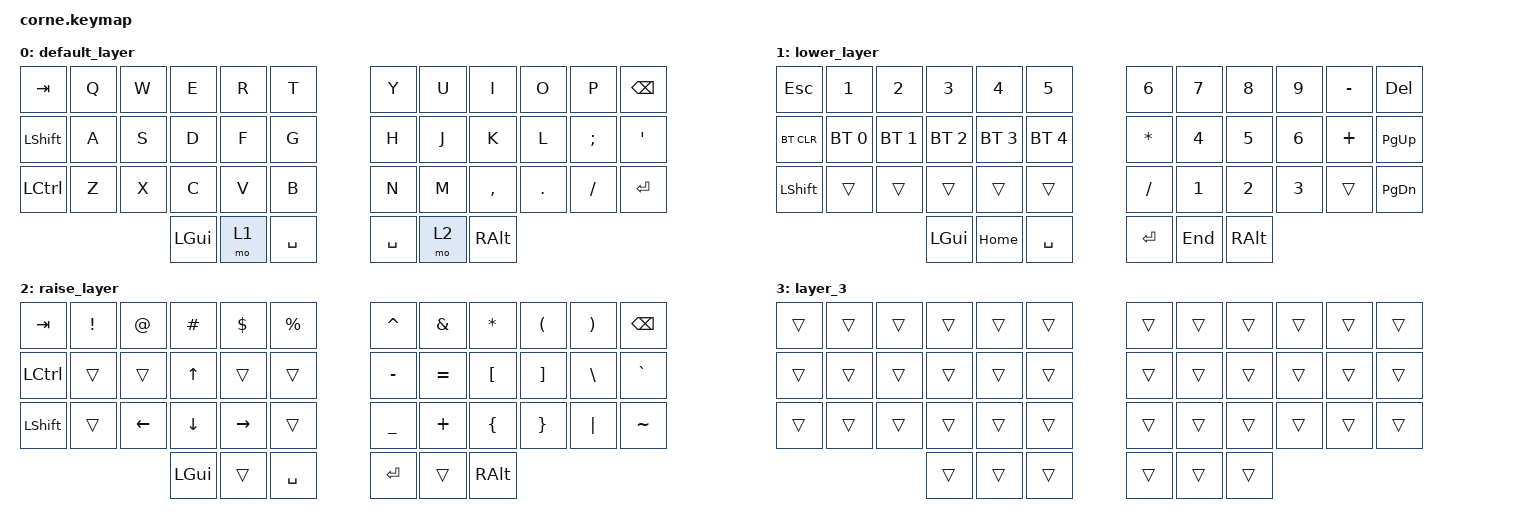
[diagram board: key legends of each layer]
/*
 * Copyright (c) 2020 The ZMK Contributors
 *
 * SPDX-License-Identifier: MIT
 */

#include <behaviors.dtsi>
#include <dt-bindings/zmk/bt.h>
#include <dt-bindings/zmk/keys.h>

/ {
    keymap {
        compatible = "zmk,keymap";

        default_layer {
            // -----------------------------------------------------------------------------------------
            // |  TAB |  Q  |  W  |  E  |  R  |  T  |   |  Y  |  U   |  I  |  O  |  P  | BKSP |
            // | CTRL |  A  |  S  |  D  |  F  |  G  |   |  H  |  J   |  K  |  L  |  ;  |  '   |
            // | SHFT |  Z  |  X  |  C  |  V  |  B  |   |  N  |  M   |  ,  |  .  |  /  | ESC  |
            //                    | GUI | LWR | SPC |   | ENT | RSE  | ALT |

            bindings = <
&kp TAB           &kp Q  &kp W  &kp E     &kp R  &kp T        &kp Y      &kp U  &kp I      &kp O    &kp P     &kp BSPC
&kp LEFT_SHIFT    &kp A  &kp S  &kp D     &kp F  &kp G        &kp H      &kp J  &kp K      &kp L    &kp SEMI  &kp SQT
&kp LEFT_CONTROL  &kp Z  &kp X  &kp C     &kp V  &kp B        &kp N      &kp M  &kp COMMA  &kp DOT  &kp FSLH  &kp ENTER
                                &kp LGUI  &mo 1  &kp SPACE    &kp SPACE  &mo 2  &kp RALT
            >;
        };

        lower_layer {
            // -----------------------------------------------------------------------------------------
            // |  TAB |  1  |  2  |  3  |  4  |  5  |   |  6  |  7  |  8  |  9  |  0  | BKSP |
            // | BTCLR| BT1 | BT2 | BT3 | BT4 | BT5 |   | LFT | DWN |  UP | RGT |     |      |
            // | SHFT |     |     |     |     |     |   |     |     |     |     |     |      |
            //                    | GUI |     | SPC |   | ENT |     | ALT |

            bindings = <
&kp ESCAPE  &kp N1        &kp N2        &kp N3        &kp N4        &kp N5          &kp N6        &kp N7   &kp N8    &kp N9        &kp MINUS  &kp DELETE
&bt BT_CLR  &bt BT_SEL 0  &bt BT_SEL 1  &bt BT_SEL 2  &bt BT_SEL 3  &bt BT_SEL 4    &kp ASTERISK  &kp N4   &kp N5    &kp NUMBER_6  &kp PLUS   &kp PAGE_UP
&kp LSHFT   &trans        &trans        &trans        &trans        &trans          &kp SLASH     &kp N1   &kp N2    &kp N3        &trans     &kp PAGE_DOWN
                                        &kp LGUI      &kp HOME      &kp SPACE       &kp RET       &kp END  &kp RALT
            >;
        };

        raise_layer {
            // -----------------------------------------------------------------------------------------
            // |  TAB |  !  |  @  |  #  |  $  |  %  |   |  ^  |  &  |  *  |  (  |  )  | BKSP |
            // | CTRL |     |     |     |     |     |   |  -  |  =  |  [  |  ]  |  \  |  `   |
            // | SHFT |     |     |     |     |     |   |  _  |  +  |  {  |  }  | "|" |  ~   |
            //                    | GUI |     | SPC |   | ENT |     | ALT |

            bindings = <
&kp TAB    &kp EXCL  &kp AT    &kp HASH      &kp DLLR   &kp PRCNT    &kp CARET  &kp AMPS   &kp ASTRK  &kp LPAR  &kp RPAR  &kp BSPC
&kp LCTRL  &trans    &trans    &kp UP_ARROW  &trans     &trans       &kp MINUS  &kp EQUAL  &kp LBKT   &kp RBKT  &kp BSLH  &kp GRAVE
&kp LSHFT  &trans    &kp LEFT  &kp DOWN      &kp RIGHT  &trans       &kp UNDER  &kp PLUS   &kp LBRC   &kp RBRC  &kp PIPE  &kp TILDE
                               &kp LGUI      &trans     &kp SPACE    &kp RET    &trans     &kp RALT
            >;
        };

        layer_3 {
            bindings = <
&trans  &trans  &trans  &trans  &trans  &trans    &trans  &trans  &trans  &trans  &trans  &trans
&trans  &trans  &trans  &trans  &trans  &trans    &trans  &trans  &trans  &trans  &trans  &trans
&trans  &trans  &trans  &trans  &trans  &trans    &trans  &trans  &trans  &trans  &trans  &trans
                        &trans  &trans  &trans    &trans  &trans  &trans
            >;
        };
    };
};
